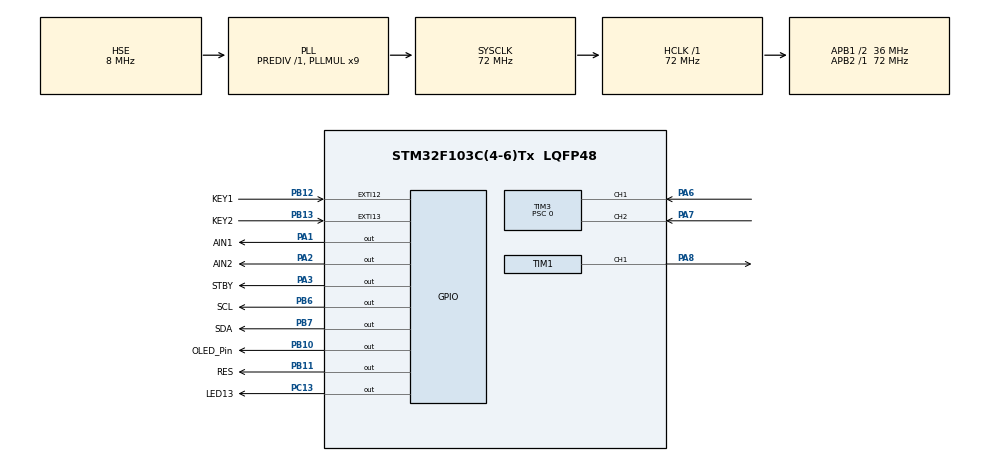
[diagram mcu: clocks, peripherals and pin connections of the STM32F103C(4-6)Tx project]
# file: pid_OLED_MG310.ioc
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FREERTOS.BinarySemaphores01=KEY1_Semaphore,Static,KEY1_SemaphoreControlBlock,Available;KEY2_Semaphore,Static,KEY2_SemaphoreControlBlock,Available
FREERTOS.HEAP_NUMBER=1
FREERTOS.Queues01=KEY_MsgQueue,8,uint8_t,0,Static,KEY_MsgQueueBuffer,KEY_MsgQueueControlBlock
FREERTOS.Tasks01=PWM_Task,24,128,PWM_Task_function,Default,NULL,Static,PWM_TaskBuffer,PWM_TaskControlBlock;KEY_Task,24,128,KEY_Task_Function,Default,NULL,Static,KEY_TaskBuffer,KEY_TaskControlBlock;OLED_Task,8,128,OLED_Task_Function,Default,NULL,Static,OLED_TaskBuffer,OLED_TaskControlBlock;SpeedMesure,8,128,SpeedMesure_Function,Default,NULL,Static,SpeedMesureBuffer,SpeedMesureControlBlock
FREERTOS.configTOTAL_HEAP_SIZE=2048
Mcu.Family=STM32F1
Mcu.Name=STM32F103C(4-6)Tx
Mcu.Package=LQFP48
NVIC.EXTI15_10_IRQn=true\:5\:0\:false\:false\:true\:true\:true\:true\:true
NVIC.PriorityGroup=NVIC_PRIORITYGROUP_4
NVIC.TIM2_IRQn=true\:15\:0\:false\:false\:true\:false\:false\:true\:true
NVIC.TimeBase=TIM2_IRQn
NVIC.TimeBaseIP=TIM2
PA1.GPIO_Label=AIN1
PA1.Signal=GPIO_Output
PA13.Mode=Serial_Wire
PA13.Signal=SYS_JTMS-SWDIO
PA14.Mode=Serial_Wire
PA14.Signal=SYS_JTCK-SWCLK
PA2.GPIO_Label=AIN2
PA2.Signal=GPIO_Output
PA3.GPIO_Label=STBY
PA3.Signal=GPIO_Output
PA6.Signal=S_TIM3_CH1
PA7.Signal=S_TIM3_CH2
PA8.Signal=S_TIM1_CH1
PB10.GPIO_Label=OLED_Pin
PB10.PinState=GPIO_PIN_RESET
PB10.Signal=GPIO_Output
PB11.GPIO_Label=RES
PB11.Signal=GPIO_Output
PB12.GPIO_Label=KEY1
PB12.GPIO_ModeDefaultEXTI=GPIO_MODE_IT_FALLING
PB12.GPIO_PuPd=GPIO_PULLUP
PB12.Signal=GPXTI12
PB13.GPIO_Label=KEY2
PB13.GPIO_ModeDefaultEXTI=GPIO_MODE_IT_FALLING
PB13.GPIO_PuPd=GPIO_PULLUP
PB13.Signal=GPXTI13
PB6.GPIO_Label=SCL
PB6.Signal=GPIO_Output
PB7.GPIO_Label=SDA
PB7.Signal=GPIO_Output
PC13-TAMPER-RTC.GPIO_Label=LED13
PC13-TAMPER-RTC.GPIO_ModeDefaultOutputPP=GPIO_MODE_OUTPUT_OD
PC13-TAMPER-RTC.GPIO_PuPd=GPIO_PULLUP
PC13-TAMPER-RTC.PinState=GPIO_PIN_SET
PC13-TAMPER-RTC.Signal=GPIO_Output
PD0-OSC_IN.Mode=HSE-External-Oscillator
PD0-OSC_IN.Signal=RCC_OSC_IN
PD1-OSC_OUT.Mode=HSE-External-Oscillator
PD1-OSC_OUT.Signal=RCC_OSC_OUT
ProjectManager.HeapSize=0x200
ProjectManager.StackSize=0x400
ProjectManager.TargetToolchain=MDK-ARM V5.32
RCC.AHBFreq_Value=72000000
RCC.APB1CLKDivider=RCC_HCLK_DIV2
RCC.APB1Freq_Value=36000000
RCC.APB1TimFreq_Value=72000000
RCC.APB2Freq_Value=72000000
RCC.APB2TimFreq_Value=72000000
RCC.HCLKFreq_Value=72000000
RCC.PLLMUL=RCC_PLL_MUL9
RCC.PLLSourceVirtual=RCC_PLLSOURCE_HSE
RCC.SYSCLKFreq_VALUE=72000000
RCC.SYSCLKSource=RCC_SYSCLKSOURCE_PLLCLK
RCC.USBFreq_Value=72000000
SH.S_TIM1_CH1.0=TIM1_CH1,PWM Generation1 CH1
SH.S_TIM3_CH1.0=TIM3_CH1,Encoder_Interface
SH.S_TIM3_CH2.0=TIM3_CH2,Encoder_Interface
TIM1.Channel-PWM\ Generation1\ CH1=TIM_CHANNEL_1
TIM1.Period=999
TIM1.Prescaler=71
TIM3.ClockDivision=TIM_CLOCKDIVISION_DIV1
TIM3.IC1Filter=15
TIM3.IC2Filter=0
TIM3.Period=65535
TIM3.Prescaler=0
VP_FREERTOS_VS_CMSIS_V2.Mode=CMSIS_V2
VP_SYS_VS_tim2.Mode=TIM2
VP_TIM1_VS_ClockSourceINT.Mode=Internal
board=custom

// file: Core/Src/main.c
/* USER CODE BEGIN Header */
/**
  ******************************************************************************
  * @file           : main.c
  * @brief          : Main program body
  ******************************************************************************
  * @attention
  *
  * Copyright (c) 2026 STMicroelectronics.
  * All rights reserved.
  *
  * This software is licensed under terms that can be found in the LICENSE file
  * in the root directory of this software component.
  * If no LICENSE file comes with this software, it is provided AS-IS.
  *
  ******************************************************************************
  */
/* USER CODE END Header */
#include "main.h"
#include "cmsis_os.h"
#include "tim.h"
#include "gpio.h"

/* USER CODE BEGIN Includes */
#include "semphr.h"
/* USER CODE END Includes */

void SystemClock_Config(void);
void MX_FREERTOS_Init(void);

int main(void)
{

  /* MCU Configuration--------------------------------------------------------*/

  /* Reset of all peripherals, Initializes the Flash interface and the Systick. */
  HAL_Init();

  /* Configure the system clock */
  SystemClock_Config();

  /* Initialize all configured peripherals */
  MX_GPIO_Init();
  MX_TIM1_Init();
  MX_TIM3_Init();
  /* USER CODE BEGIN 2 */

	HAL_TIM_Encoder_Start(&htim3, TIM_CHANNEL_1);
	HAL_TIM_Encoder_Start(&htim3, TIM_CHANNEL_2);

  /* USER CODE END 2 */

  /* Init scheduler */
  osKernelInitialize();  /* Call init function for freertos objects (in cmsis_os2.c) */
  MX_FREERTOS_Init();

  /* Start scheduler */
  osKernelStart();

  /* We should never get here as control is now taken by the scheduler */

  /* Infinite loop */
  while (1)
  {

  }
}

void SystemClock_Config(void)
{
  RCC_OscInitTypeDef RCC_OscInitStruct = {0};
  RCC_ClkInitTypeDef RCC_ClkInitStruct = {0};

  /** Initializes the RCC Oscillators according to the specified parameters
  * in the RCC_OscInitTypeDef structure.
  */
  RCC_OscInitStruct.OscillatorType = RCC_OSCILLATORTYPE_HSE;
  RCC_OscInitStruct.HSEState = RCC_HSE_ON;
  RCC_OscInitStruct.HSEPredivValue = RCC_HSE_PREDIV_DIV1;
  RCC_OscInitStruct.HSIState = RCC_HSI_ON;
  RCC_OscInitStruct.PLL.PLLState = RCC_PLL_ON;
  RCC_OscInitStruct.PLL.PLLSource = RCC_PLLSOURCE_HSE;
  RCC_OscInitStruct.PLL.PLLMUL = RCC_PLL_MUL9;
  if (HAL_RCC_OscConfig(&RCC_OscInitStruct) != HAL_OK)
  {
    Error_Handler();
  }

  /** Initializes the CPU, AHB and APB buses clocks
  */
  RCC_ClkInitStruct.ClockType = RCC_CLOCKTYPE_HCLK|RCC_CLOCKTYPE_SYSCLK
                              |RCC_CLOCKTYPE_PCLK1|RCC_CLOCKTYPE_PCLK2;
  RCC_ClkInitStruct.SYSCLKSource = RCC_SYSCLKSOURCE_PLLCLK;
  RCC_ClkInitStruct.AHBCLKDivider = RCC_SYSCLK_DIV1;
  RCC_ClkInitStruct.APB1CLKDivider = RCC_HCLK_DIV2;
  RCC_ClkInitStruct.APB2CLKDivider = RCC_HCLK_DIV1;

  if (HAL_RCC_ClockConfig(&RCC_ClkInitStruct, FLASH_LATENCY_2) != HAL_OK)
  {
    Error_Handler();
  }
}

/* USER CODE BEGIN 4 */
// 1. 声明外部信号量句柄（如果不在同一个文件里定义）
extern osSemaphoreId_t KEY1_SemaphoreHandle;
extern osSemaphoreId_t KEY2_SemaphoreHandle;

// 2. 重写这个弱函数（注意：绝对不要加 __weak）
void HAL_GPIO_EXTI_Callback(uint16_t GPIO_Pin)
{
    // 定义任务唤醒标志
    BaseType_t xHigherPriorityTaskWoken = pdFALSE;

    // 判断是哪个引脚触发的
    if (GPIO_Pin == KEY1_Pin)
    {
        if (KEY1_SemaphoreHandle != NULL)
        {
            // 发送信号量给任务
            xSemaphoreGiveFromISR(KEY1_SemaphoreHandle, &xHigherPriorityTaskWoken);
        }
    }
    else if (GPIO_Pin == KEY2_Pin)
    {
        if (KEY2_SemaphoreHandle != NULL)
        {
            xSemaphoreGiveFromISR(KEY2_SemaphoreHandle, &xHigherPriorityTaskWoken);
        }
    }

    // 3. 如果发送信号量唤醒了更高优先级的任务，退出中断前切一下任务
    portYIELD_FROM_ISR(xHigherPriorityTaskWoken);
}
/* USER CODE END 4 */

void HAL_TIM_PeriodElapsedCallback(TIM_HandleTypeDef *htim)
{
  if (htim->Instance == TIM2)
  {
    HAL_IncTick();
  }
}

void Error_Handler(void)
{
  __disable_irq();
  while (1)
  {
  }
}

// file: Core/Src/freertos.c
/* USER CODE BEGIN Header */
/**
  ******************************************************************************
  * File Name          : freertos.c
  * Description        : Code for freertos applications
  ******************************************************************************
  * @attention
  *
  * Copyright (c) 2026 STMicroelectronics.
  * All rights reserved.
  *
  * This software is licensed under terms that can be found in the LICENSE file
  * in the root directory of this software component.
  * If no LICENSE file comes with this software, it is provided AS-IS.
  *
  ******************************************************************************
  */
/* USER CODE END Header */

#include "FreeRTOS.h"
#include "task.h"
#include "main.h"
#include "cmsis_os.h"

/* USER CODE BEGIN Includes */
#include "tim.h"
#include "OLED.h"
#include "MG310_Driver.h"
#include "PID.h"
#include "PID_MG310.h"

#include "semphr.h"

#include <stdio.h>
#include <math.h>
/* USER CODE END Includes */

typedef StaticTask_t osStaticThreadDef_t;
typedef StaticQueue_t osStaticMessageQDef_t;
typedef StaticSemaphore_t osStaticSemaphoreDef_t;

/* Definitions for PWM_Task */
osThreadId_t PWM_TaskHandle;
uint32_t PWM_TaskBuffer[ 128 ];
osStaticThreadDef_t PWM_TaskControlBlock;
const osThreadAttr_t PWM_Task_attributes = {
  .name = "PWM_Task",
  .cb_mem = &PWM_TaskControlBlock,
  .cb_size = sizeof(PWM_TaskControlBlock),
  .stack_mem = &PWM_TaskBuffer[0],
  .stack_size = sizeof(PWM_TaskBuffer),
  .priority = (osPriority_t) osPriorityNormal,
};
/* Definitions for KEY_Task */
osThreadId_t KEY_TaskHandle;
uint32_t KEY_TaskBuffer[ 128 ];
osStaticThreadDef_t KEY_TaskControlBlock;
const osThreadAttr_t KEY_Task_attributes = {
  .name = "KEY_Task",
  .cb_mem = &KEY_TaskControlBlock,
  .cb_size = sizeof(KEY_TaskControlBlock),
  .stack_mem = &KEY_TaskBuffer[0],
  .stack_size = sizeof(KEY_TaskBuffer),
  .priority = (osPriority_t) osPriorityNormal,
};
/* Definitions for OLED_Task */
osThreadId_t OLED_TaskHandle;
uint32_t OLED_TaskBuffer[ 128 ];
osStaticThreadDef_t OLED_TaskControlBlock;
const osThreadAttr_t OLED_Task_attributes = {
  .name = "OLED_Task",
  .cb_mem = &OLED_TaskControlBlock,
  .cb_size = sizeof(OLED_TaskControlBlock),
  .stack_mem = &OLED_TaskBuffer[0],
  .stack_size = sizeof(OLED_TaskBuffer),
  .priority = (osPriority_t) osPriorityLow,
};
/* Definitions for SpeedMesure */
osThreadId_t SpeedMesureHandle;
uint32_t SpeedMesureBuffer[ 128 ];
osStaticThreadDef_t SpeedMesureControlBlock;
const osThreadAttr_t SpeedMesure_attributes = {
  .name = "SpeedMesure",
  .cb_mem = &SpeedMesureControlBlock,
  .cb_size = sizeof(SpeedMesureControlBlock),
  .stack_mem = &SpeedMesureBuffer[0],
  .stack_size = sizeof(SpeedMesureBuffer),
  .priority = (osPriority_t) osPriorityLow,
};
/* Definitions for KEY_MsgQueue */
osMessageQueueId_t KEY_MsgQueueHandle;
uint8_t KEY_MsgQueueBuffer[ 8 * sizeof( uint8_t ) ];
osStaticMessageQDef_t KEY_MsgQueueControlBlock;
const osMessageQueueAttr_t KEY_MsgQueue_attributes = {
  .name = "KEY_MsgQueue",
  .cb_mem = &KEY_MsgQueueControlBlock,
  .cb_size = sizeof(KEY_MsgQueueControlBlock),
  .mq_mem = &KEY_MsgQueueBuffer,
  .mq_size = sizeof(KEY_MsgQueueBuffer)
};
/* Definitions for KEY1_Semaphore */
osSemaphoreId_t KEY1_SemaphoreHandle;
osStaticSemaphoreDef_t KEY1_SemaphoreControlBlock;
const osSemaphoreAttr_t KEY1_Semaphore_attributes = {
  .name = "KEY1_Semaphore",
  .cb_mem = &KEY1_SemaphoreControlBlock,
  .cb_size = sizeof(KEY1_SemaphoreControlBlock),
};
/* Definitions for KEY2_Semaphore */
osSemaphoreId_t KEY2_SemaphoreHandle;
osStaticSemaphoreDef_t KEY2_SemaphoreControlBlock;
const osSemaphoreAttr_t KEY2_Semaphore_attributes = {
  .name = "KEY2_Semaphore",
  .cb_mem = &KEY2_SemaphoreControlBlock,
  .cb_size = sizeof(KEY2_SemaphoreControlBlock),
};

void PWM_Task_function(void *argument);
void KEY_Task_Function(void *argument);
void OLED_Task_Function(void *argument);
void SpeedMesure_Function(void *argument);

void MX_FREERTOS_Init(void); /* (MISRA C 2004 rule 8.1) */

void MX_FREERTOS_Init(void) {

  /* Create the semaphores(s) */
  /* creation of KEY1_Semaphore */
  KEY1_SemaphoreHandle = osSemaphoreNew(1, 1, &KEY1_Semaphore_attributes);

  /* creation of KEY2_Semaphore */
  KEY2_SemaphoreHandle = osSemaphoreNew(1, 1, &KEY2_Semaphore_attributes);

  /* Create the queue(s) */
  /* creation of KEY_MsgQueue */
  KEY_MsgQueueHandle = osMessageQueueNew (8, sizeof(uint8_t), &KEY_MsgQueue_attributes);

  /* Create the thread(s) */
  /* creation of PWM_Task */
  PWM_TaskHandle = osThreadNew(PWM_Task_function, NULL, &PWM_Task_attributes);

  /* creation of KEY_Task */
  KEY_TaskHandle = osThreadNew(KEY_Task_Function, NULL, &KEY_Task_attributes);

  /* creation of OLED_Task */
  OLED_TaskHandle = osThreadNew(OLED_Task_Function, NULL, &OLED_Task_attributes);

  /* creation of SpeedMesure */
  SpeedMesureHandle = osThreadNew(SpeedMesure_Function, NULL, &SpeedMesure_attributes);

}

void PWM_Task_function(void *argument)
{
  /* USER CODE BEGIN PWM_Task_function */
  /* Infinite loop */
	// PWM_Init
	PID_MG310_Init();		// 初始化电机
	MG310_Rotation(ROTATE_FORWARD);		// 设置电机为正转
	MG310_Cmd(MG310_ON);		// 打开电机
	PID_MG310_SetSpeed(0.5f);		//	设定目标值
  for(;;)
  {
		PID_MG310_Proc(HAL_GetTick());		// 更新电机pid
    osDelay(5);
  }
  /* USER CODE END PWM_Task_function */
}

void KEY_Task_Function(void *argument)
{
  /* USER CODE BEGIN KEY_Task_Function */
  /* Infinite loop */
	const TickType_t xTicksToWait = pdMS_TO_TICKS(10);
  for(;;)
  {
		if(xSemaphoreTake(KEY1_SemaphoreHandle, xTicksToWait) == pdTRUE){
			osDelay(20);
			if(HAL_GPIO_ReadPin(KEY1_GPIO_Port, KEY1_Pin) == GPIO_PIN_RESET){
				// 业务代码
				HAL_GPIO_WritePin(LED13_GPIO_Port, LED13_Pin, GPIO_PIN_SET);
				while(HAL_GPIO_ReadPin(KEY1_GPIO_Port, KEY1_Pin) == GPIO_PIN_RESET){osDelay(10);}
				PID_MG310_ChangeSpeed(-0.1f);
			}
		}
		if(xSemaphoreTake(KEY2_SemaphoreHandle, xTicksToWait) == pdTRUE){
			osDelay(20);
			if(HAL_GPIO_ReadPin(KEY2_GPIO_Port, KEY2_Pin) == GPIO_PIN_RESET){
				// 业务代码
				HAL_GPIO_WritePin(LED13_GPIO_Port, LED13_Pin, GPIO_PIN_RESET);
				while(HAL_GPIO_ReadPin(KEY2_GPIO_Port, KEY2_Pin) == GPIO_PIN_RESET){osDelay(10);}
				PID_MG310_ChangeSpeed(0.1f);
			}
		}
  }
  /* USER CODE END KEY_Task_Function */
}

void OLED_Task_Function(void *argument)
{
  /* USER CODE BEGIN OLED_Task_Function */
  /* Infinite loop */
	// OLED屏需要初始化操作，以防万一选择用软件模拟i2c通信
	vTaskDelay(20);
	HAL_GPIO_WritePin(OLED_Pin_GPIO_Port, OLED_Pin_Pin, GPIO_PIN_SET);		// 启动OLED屏幕
	HAL_GPIO_WritePin(RES_GPIO_Port, RES_Pin, GPIO_PIN_SET);		// 关闭复位
	vTaskDelay(100);
	OLED_Init();		// 初始化OLED
	vTaskDelay(100);
	float cur_speed, sp_speed;		// 定义当前速度和目标速度

	char strings[15];		// 定义输出字符串

	OLED_Clear();		// 清屏

	OLED_ShowChineseChars(0, 0, "速度：");
	OLED_ShowChineseChars(0, 2, "目标：");

	OLED_Ciallo();		// 装饰用函数，可以删除

	for(;;)
  {
		cur_speed = MG310_GetCurSpeed();		// 读取当前速度
		sp_speed = PID_MG310_GetSP();			// 读取当前速度目标
		sprintf(strings, "%05.2fm/s", cur_speed);		// 计算输出字符串
		OLED_ShowString(24*2, 0, strings, 8);		// 输出当前速度的字符串于OLED屏
		sprintf(strings, "%05.2fm/s", sp_speed);		// 计算输出目标速度
		OLED_ShowString(24*2, 2, strings, 8);		// 输出目标速度的字符串于OLED屏
    osDelay(MEASURE_DELAY);		// 测速延迟
  }
  /* USER CODE END OLED_Task_Function */
}

void SpeedMesure_Function(void *argument)
{
  /* USER CODE BEGIN SpeedMesure_Function */
  /* Infinite loop */
  for(;;)
  {
		taskENTER_CRITICAL();
		MG310_MesureCurSpeed();
		taskEXIT_CRITICAL();
    osDelay(MEASURE_DELAY);
  }
  /* USER CODE END SpeedMesure_Function */
}
